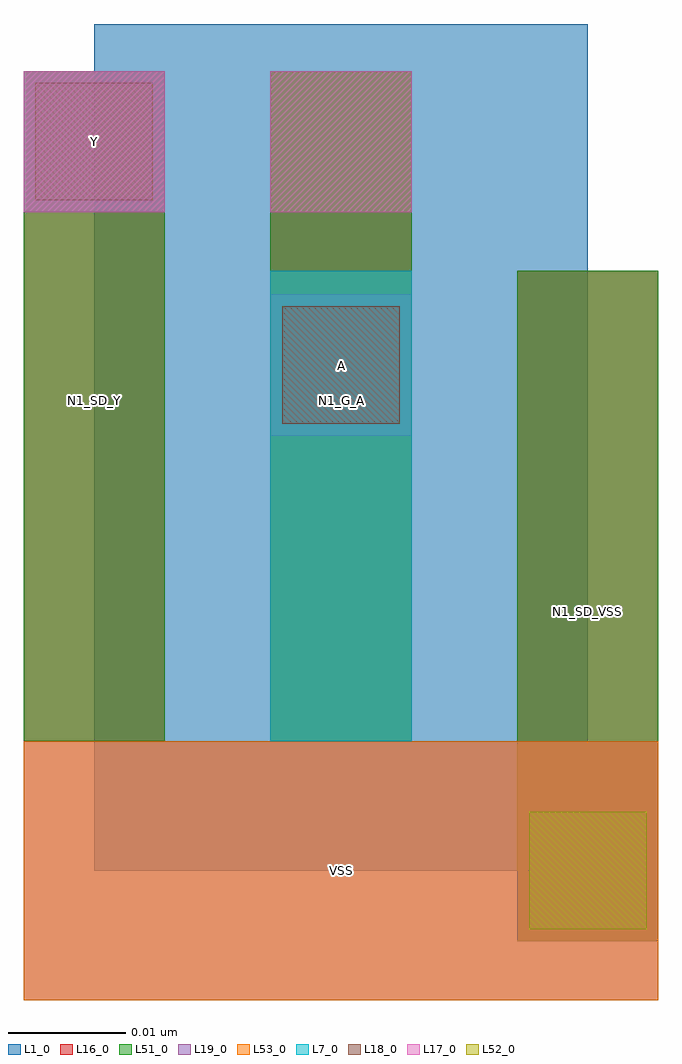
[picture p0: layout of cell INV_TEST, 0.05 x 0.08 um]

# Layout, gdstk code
import gdstk
lib = gdstk.Library(unit=1e-6, precision=1e-09)
def R(c, l, rs):  # rectangles x0, y0, x1, y1
    for r in rs: c.add(gdstk.rectangle(r[:2], r[2:], *l))
L1_0 = (1, 0)
L7_0 = (7, 0)
L16_0 = (16, 0)
L17_0 = (17, 0)
L18_0 = (18, 0)
L19_0 = (19, 0)
L51_0 = (51, 0)
L52_0 = (52, 0)
L53_0 = (53, 0)

inv_test = lib.new_cell('INV_TEST')
R(inv_test, L1_0, [(0,0,0.042,0.072)])
R(inv_test, L7_0, [(0.015,0.011,0.027,0.051)])
R(inv_test, L16_0, [(0.036,-0.006,0.048,0.051), (-0.006,0.011,0.006,0.068), (0.015,0.011,0.027,0.068)])
R(inv_test, L17_0, [(-0.006,0.056,0.006,0.068), (0.015,0.056,0.027,0.068)])
R(inv_test, L18_0, [(0.037,-0.005,0.047,0.005), (0.016,0.038,0.026,0.048), (-0.005,0.057,0.005,0.067)])
R(inv_test, L19_0, [(-0.006,-0.011,0.048,0.011), (0.015,0.037,0.027,0.049), (-0.006,0.056,0.006,0.068)])
R(inv_test, L51_0, [(0.036,-0.006,0.048,0.051), (-0.006,0.011,0.006,0.068), (0.015,0.011,0.027,0.068)])
R(inv_test, L52_0, [(0.037,-0.005,0.047,0.005)])
R(inv_test, L53_0, [(-0.006,-0.011,0.048,0.011)])
inv_test.add(gdstk.Label('N1_SD_Y', (0,0.04), layer=16, texttype=0))
inv_test.add(gdstk.Label('N1_G_A', (0.021,0.04), layer=16, texttype=0))
inv_test.add(gdstk.Label('N1_SD_VSS', (0.042,0.022), layer=16, texttype=0))
inv_test.add(gdstk.Label('Y', (0,0.062), layer=19, texttype=0))
inv_test.add(gdstk.Label('A', (0.021,0.043), layer=19, texttype=0))
inv_test.add(gdstk.Label('VSS', (0.021,0), layer=19, texttype=0))
inv_test.add(gdstk.Label('P1_SD_Y', (0,0.04), layer=51, texttype=0))
inv_test.add(gdstk.Label('P1_G_A', (0.021,0.04), layer=51, texttype=0))
inv_test.add(gdstk.Label('P1_SD_VDD', (0.042,0.022), layer=51, texttype=0))
inv_test.add(gdstk.Label('VDD', (0.021,0), layer=53, texttype=0))

lib.write_gds('INV_TEST.gds')
